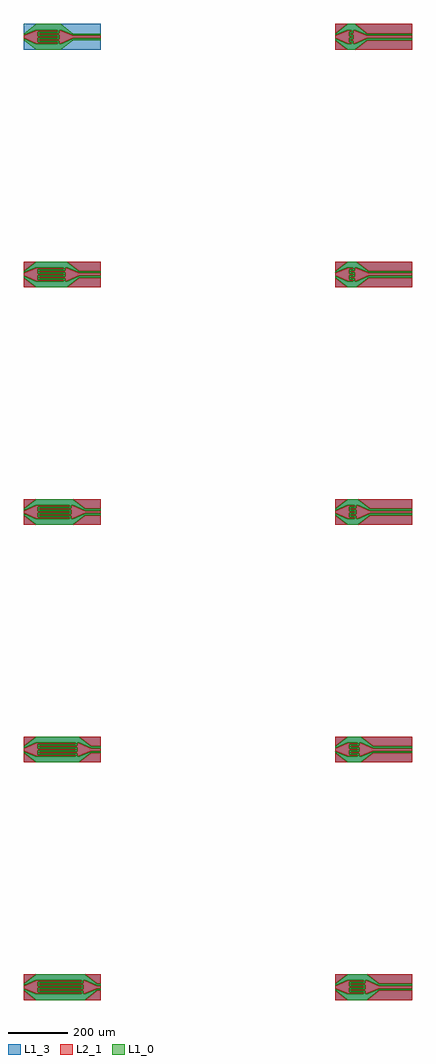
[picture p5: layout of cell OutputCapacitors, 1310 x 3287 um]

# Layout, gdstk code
import gdstk
lib = gdstk.Library(unit=1e-6, precision=1e-09)
def R(c, l, rs):  # rectangles x0, y0, x1, y1
    for r in rs: c.add(gdstk.rectangle(r[:2], r[2:], *l))
def P(c, l, *ps):  # polygons
    for p in ps: c.add(gdstk.Polygon(p, *l))
L1_0 = (1, 0)
L1_3 = (1, 3)
L2_1 = (2, 1)

cout1 = lib.new_cell('Cout1')
P(cout1, L1_0, [(-87.762,-43.5),(-130,-11),(-130,-5),(-87.717,-22.5),(-14.217,-22.5),(-14.217,-17.5),(-82.717,-17.5),(-82.717,-2.5),(-14.217,-2.5),(-14.217,2.5),(-82.717,2.5),(-82.717,17.5),(-14.217,17.5),(-14.217,22.5),(-87.717,22.5),(-130,5),(-130,11),(-87.762,43.5),(-4.172,43.5),(38.066,11),(130,11),(130,5),(38.066,5),(-4.217,22.5),(-9.217,22.5),(-9.217,12.5),(-77.717,12.5),(-77.717,7.5),(-9.217,7.5),(-9.217,-7.5),(-77.717,-7.5),(-77.717,-12.5),(-9.217,-12.5),(-9.217,-22.5),(-4.217,-22.5),(38.066,-5),(130,-5),(130,-11),(38.066,-11),(-4.172,-43.5)])
R(cout1, L1_3, [(-130,-43.5,130,43.5)])
P(cout1, L2_1, [(-87.717,-22.5),(-130,-5),(-130,5),(-87.717,22.5),(-14.217,22.5),(-14.217,17.5),(-82.717,17.5),(-82.717,2.5),(-14.217,2.5),(-14.217,-2.5),(-82.717,-2.5),(-82.717,-17.5),(-14.217,-17.5),(-14.217,-22.5)],
  [(-9.217,-22.5),(-9.217,-12.5),(-77.717,-12.5),(-77.717,-7.5),(-9.217,-7.5),(-9.217,7.5),(-77.717,7.5),(-77.717,12.5),(-9.217,12.5),(-9.217,22.5),(-4.217,22.5),(38.066,5),(130,5),(130,-5),(38.066,-5),(-4.217,-22.5)])

cout2 = lib.new_cell('Cout2')
P(cout2, L1_0, [(-87.762,-43.5),(-130,-11),(-130,-5),(-87.717,-22.5),(5.783,-22.5),(5.783,-17.5),(-82.717,-17.5),(-82.717,-2.5),(5.783,-2.5),(5.783,2.5),(-82.717,2.5),(-82.717,17.5),(5.783,17.5),(5.783,22.5),(-87.717,22.5),(-130,5),(-130,11),(-87.762,43.5),(15.828,43.5),(58.066,11),(130,11),(130,5),(58.066,5),(15.783,22.5),(10.783,22.5),(10.783,12.5),(-77.717,12.5),(-77.717,7.5),(10.783,7.5),(10.783,-7.5),(-77.717,-7.5),(-77.717,-12.5),(10.783,-12.5),(10.783,-22.5),(15.783,-22.5),(58.066,-5),(130,-5),(130,-11),(58.066,-11),(15.828,-43.5)])
R(cout2, L1_3, [(-130,-43.5,130,43.5)])
P(cout2, L2_1, [(-130,11),(-130,43.5),(-87.762,43.5)],
  [(-130,-43.5),(-130,-11),(-87.762,-43.5)],
  [(-87.717,-22.5),(-130,-5),(-130,5),(-87.717,22.5),(5.783,22.5),(5.783,17.5),(-82.717,17.5),(-82.717,2.5),(5.783,2.5),(5.783,-2.5),(-82.717,-2.5),(-82.717,-17.5),(5.783,-17.5),(5.783,-22.5)],
  [(10.783,-22.5),(10.783,-12.5),(-77.717,-12.5),(-77.717,-7.5),(10.783,-7.5),(10.783,7.5),(-77.717,7.5),(-77.717,12.5),(10.783,12.5),(10.783,22.5),(15.783,22.5),(58.066,5),(130,5),(130,-5),(58.066,-5),(15.783,-22.5)],
  [(15.828,-43.5),(58.066,-11),(130,-11),(130,-43.5)],
  [(58.066,11),(15.828,43.5),(130,43.5),(130,11)])

cout3 = lib.new_cell('Cout3')
P(cout3, L1_0, [(-87.762,-43.5),(-130,-11),(-130,-5),(-87.717,-22.5),(25.783,-22.5),(25.783,-17.5),(-82.717,-17.5),(-82.717,-2.5),(25.783,-2.5),(25.783,2.5),(-82.717,2.5),(-82.717,17.5),(25.783,17.5),(25.783,22.5),(-87.717,22.5),(-130,5),(-130,11),(-87.762,43.5),(35.828,43.5),(78.066,11),(130,11),(130,5),(78.066,5),(35.783,22.5),(30.783,22.5),(30.783,12.5),(-77.717,12.5),(-77.717,7.5),(30.783,7.5),(30.783,-7.5),(-77.717,-7.5),(-77.717,-12.5),(30.783,-12.5),(30.783,-22.5),(35.783,-22.5),(78.066,-5),(130,-5),(130,-11),(78.066,-11),(35.828,-43.5)])
R(cout3, L1_3, [(-130,-43.5,130,43.5)])
P(cout3, L2_1, [(-130,11),(-130,43.5),(-87.762,43.5)],
  [(-130,-43.5),(-130,-11),(-87.762,-43.5)],
  [(-87.717,-22.5),(-130,-5),(-130,5),(-87.717,22.5),(25.783,22.5),(25.783,17.5),(-82.717,17.5),(-82.717,2.5),(25.783,2.5),(25.783,-2.5),(-82.717,-2.5),(-82.717,-17.5),(25.783,-17.5),(25.783,-22.5)],
  [(30.783,-22.5),(30.783,-12.5),(-77.717,-12.5),(-77.717,-7.5),(30.783,-7.5),(30.783,7.5),(-77.717,7.5),(-77.717,12.5),(30.783,12.5),(30.783,22.5),(35.783,22.5),(78.066,5),(130,5),(130,-5),(78.066,-5),(35.783,-22.5)],
  [(35.828,-43.5),(78.066,-11),(130,-11),(130,-43.5)],
  [(78.066,11),(35.828,43.5),(130,43.5),(130,11)])

cout4 = lib.new_cell('Cout4')
P(cout4, L1_0, [(-87.762,-43.5),(-130,-11),(-130,-5),(-87.717,-22.5),(45.783,-22.5),(45.783,-17.5),(-82.717,-17.5),(-82.717,-2.5),(45.783,-2.5),(45.783,2.5),(-82.717,2.5),(-82.717,17.5),(45.783,17.5),(45.783,22.5),(-87.717,22.5),(-130,5),(-130,11),(-87.762,43.5),(55.828,43.5),(98.066,11),(130,11),(130,5),(98.066,5),(55.783,22.5),(50.783,22.5),(50.783,12.5),(-77.717,12.5),(-77.717,7.5),(50.783,7.5),(50.783,-7.5),(-77.717,-7.5),(-77.717,-12.5),(50.783,-12.5),(50.783,-22.5),(55.783,-22.5),(98.066,-5),(130,-5),(130,-11),(98.066,-11),(55.828,-43.5)])
R(cout4, L1_3, [(-130,-43.5,130,43.5)])
P(cout4, L2_1, [(-130,11),(-130,43.5),(-87.762,43.5)],
  [(-130,-43.5),(-130,-11),(-87.762,-43.5)],
  [(-87.717,-22.5),(-130,-5),(-130,5),(-87.717,22.5),(45.783,22.5),(45.783,17.5),(-82.717,17.5),(-82.717,2.5),(45.783,2.5),(45.783,-2.5),(-82.717,-2.5),(-82.717,-17.5),(45.783,-17.5),(45.783,-22.5)],
  [(50.783,-22.5),(50.783,-12.5),(-77.717,-12.5),(-77.717,-7.5),(50.783,-7.5),(50.783,7.5),(-77.717,7.5),(-77.717,12.5),(50.783,12.5),(50.783,22.5),(55.783,22.5),(98.066,5),(130,5),(130,-5),(98.066,-5),(55.783,-22.5)],
  [(55.828,-43.5),(98.066,-11),(130,-11),(130,-43.5)],
  [(98.066,11),(55.828,43.5),(130,43.5),(130,11)])

cout5 = lib.new_cell('Cout5')
P(cout5, L1_0, [(-87.762,-43.5),(-130,-11),(-130,-5),(-87.717,-22.5),(65.783,-22.5),(65.783,-17.5),(-82.717,-17.5),(-82.717,-2.5),(65.783,-2.5),(65.783,2.5),(-82.717,2.5),(-82.717,17.5),(65.783,17.5),(65.783,22.5),(-87.717,22.5),(-130,5),(-130,11),(-87.762,43.5),(75.828,43.5),(118.066,11),(130,11),(130,5),(118.066,5),(75.783,22.5),(70.783,22.5),(70.783,12.5),(-77.717,12.5),(-77.717,7.5),(70.783,7.5),(70.783,-7.5),(-77.717,-7.5),(-77.717,-12.5),(70.783,-12.5),(70.783,-22.5),(75.783,-22.5),(118.066,-5),(130,-5),(130,-11),(118.066,-11),(75.828,-43.5)])
R(cout5, L1_3, [(-130,-43.5,130,43.5)])
P(cout5, L2_1, [(-130,11),(-130,43.5),(-87.762,43.5)],
  [(-130,-43.5),(-130,-11),(-87.762,-43.5)],
  [(-87.717,-22.5),(-130,-5),(-130,5),(-87.717,22.5),(65.783,22.5),(65.783,17.5),(-82.717,17.5),(-82.717,2.5),(65.783,2.5),(65.783,-2.5),(-82.717,-2.5),(-82.717,-17.5),(65.783,-17.5),(65.783,-22.5)],
  [(70.783,-22.5),(70.783,-12.5),(-77.717,-12.5),(-77.717,-7.5),(70.783,-7.5),(70.783,7.5),(-77.717,7.5),(-77.717,12.5),(70.783,12.5),(70.783,22.5),(75.783,22.5),(118.066,5),(130,5),(130,-5),(118.066,-5),(75.783,-22.5)],
  [(75.828,-43.5),(118.066,-11),(130,-11),(130,-43.5)],
  [(118.066,11),(75.828,43.5),(130,43.5),(130,11)])

cout6 = lib.new_cell('Cout6')
P(cout6, L1_0, [(-87.762,-43.5),(-130,-11),(-130,-5),(-87.717,-22.5),(-74.217,-22.5),(-74.217,-17.5),(-82.717,-17.5),(-82.717,-2.5),(-74.217,-2.5),(-74.217,2.5),(-82.717,2.5),(-82.717,17.5),(-74.217,17.5),(-74.217,22.5),(-87.717,22.5),(-130,5),(-130,11),(-87.762,43.5),(-64.172,43.5),(-21.934,11),(130,11),(130,5),(-21.934,5),(-64.217,22.5),(-69.217,22.5),(-69.217,12.5),(-77.717,12.5),(-77.717,7.5),(-69.217,7.5),(-69.217,-7.5),(-77.717,-7.5),(-77.717,-12.5),(-69.217,-12.5),(-69.217,-22.5),(-64.217,-22.5),(-21.934,-5),(130,-5),(130,-11),(-21.934,-11),(-64.172,-43.5)])
R(cout6, L1_3, [(-130,-43.5,130,43.5)])
P(cout6, L2_1, [(-130,11),(-130,43.5),(-87.762,43.5)],
  [(-130,-43.5),(-130,-11),(-87.762,-43.5)],
  [(-87.717,-22.5),(-130,-5),(-130,5),(-87.717,22.5),(-74.217,22.5),(-74.217,17.5),(-82.717,17.5),(-82.717,2.5),(-74.217,2.5),(-74.217,-2.5),(-82.717,-2.5),(-82.717,-17.5),(-74.217,-17.5),(-74.217,-22.5)],
  [(-69.217,-22.5),(-69.217,-12.5),(-77.717,-12.5),(-77.717,-7.5),(-69.217,-7.5),(-69.217,7.5),(-77.717,7.5),(-77.717,12.5),(-69.217,12.5),(-69.217,22.5),(-64.217,22.5),(-21.934,5),(130,5),(130,-5),(-21.934,-5),(-64.217,-22.5)],
  [(-64.172,-43.5),(-21.934,-11),(130,-11),(130,-43.5)],
  [(-21.934,11),(-64.172,43.5),(130,43.5),(130,11)])

cout7 = lib.new_cell('Cout7')
P(cout7, L1_0, [(-87.762,-43.5),(-130,-11),(-130,-5),(-87.717,-22.5),(-69.217,-22.5),(-69.217,-17.5),(-82.717,-17.5),(-82.717,-2.5),(-69.217,-2.5),(-69.217,2.5),(-82.717,2.5),(-82.717,17.5),(-69.217,17.5),(-69.217,22.5),(-87.717,22.5),(-130,5),(-130,11),(-87.762,43.5),(-59.172,43.5),(-16.934,11),(130,11),(130,5),(-16.934,5),(-59.217,22.5),(-64.217,22.5),(-64.217,12.5),(-77.717,12.5),(-77.717,7.5),(-64.217,7.5),(-64.217,-7.5),(-77.717,-7.5),(-77.717,-12.5),(-64.217,-12.5),(-64.217,-22.5),(-59.217,-22.5),(-16.934,-5),(130,-5),(130,-11),(-16.934,-11),(-59.172,-43.5)])
R(cout7, L1_3, [(-130,-43.5,130,43.5)])
P(cout7, L2_1, [(-130,11),(-130,43.5),(-87.762,43.5)],
  [(-130,-43.5),(-130,-11),(-87.762,-43.5)],
  [(-87.717,-22.5),(-130,-5),(-130,5),(-87.717,22.5),(-69.217,22.5),(-69.217,17.5),(-82.717,17.5),(-82.717,2.5),(-69.217,2.5),(-69.217,-2.5),(-82.717,-2.5),(-82.717,-17.5),(-69.217,-17.5),(-69.217,-22.5)],
  [(-64.217,-22.5),(-64.217,-12.5),(-77.717,-12.5),(-77.717,-7.5),(-64.217,-7.5),(-64.217,7.5),(-77.717,7.5),(-77.717,12.5),(-64.217,12.5),(-64.217,22.5),(-59.217,22.5),(-16.934,5),(130,5),(130,-5),(-16.934,-5),(-59.217,-22.5)],
  [(-59.172,-43.5),(-16.934,-11),(130,-11),(130,-43.5)],
  [(-16.934,11),(-59.172,43.5),(130,43.5),(130,11)])

cout8 = lib.new_cell('Cout8')
P(cout8, L1_0, [(-87.762,-43.5),(-130,-11),(-130,-5),(-87.717,-22.5),(-64.217,-22.5),(-64.217,-17.5),(-82.717,-17.5),(-82.717,-2.5),(-64.217,-2.5),(-64.217,2.5),(-82.717,2.5),(-82.717,17.5),(-64.217,17.5),(-64.217,22.5),(-87.717,22.5),(-130,5),(-130,11),(-87.762,43.5),(-54.172,43.5),(-11.934,11),(130,11),(130,5),(-11.934,5),(-54.217,22.5),(-59.217,22.5),(-59.217,12.5),(-77.717,12.5),(-77.717,7.5),(-59.217,7.5),(-59.217,-7.5),(-77.717,-7.5),(-77.717,-12.5),(-59.217,-12.5),(-59.217,-22.5),(-54.217,-22.5),(-11.934,-5),(130,-5),(130,-11),(-11.934,-11),(-54.172,-43.5)])
R(cout8, L1_3, [(-130,-43.5,130,43.5)])
P(cout8, L2_1, [(-130,11),(-130,43.5),(-87.762,43.5)],
  [(-130,-43.5),(-130,-11),(-87.762,-43.5)],
  [(-87.717,-22.5),(-130,-5),(-130,5),(-87.717,22.5),(-64.217,22.5),(-64.217,17.5),(-82.717,17.5),(-82.717,2.5),(-64.217,2.5),(-64.217,-2.5),(-82.717,-2.5),(-82.717,-17.5),(-64.217,-17.5),(-64.217,-22.5)],
  [(-59.217,-22.5),(-59.217,-12.5),(-77.717,-12.5),(-77.717,-7.5),(-59.217,-7.5),(-59.217,7.5),(-77.717,7.5),(-77.717,12.5),(-59.217,12.5),(-59.217,22.5),(-54.217,22.5),(-11.934,5),(130,5),(130,-5),(-11.934,-5),(-54.217,-22.5)],
  [(-54.172,-43.5),(-11.934,-11),(130,-11),(130,-43.5)],
  [(-11.934,11),(-54.172,43.5),(130,43.5),(130,11)])

cout9 = lib.new_cell('Cout9')
P(cout9, L1_0, [(-87.762,-43.5),(-130,-11),(-130,-5),(-87.717,-22.5),(-54.217,-22.5),(-54.217,-17.5),(-82.717,-17.5),(-82.717,-2.5),(-54.217,-2.5),(-54.217,2.5),(-82.717,2.5),(-82.717,17.5),(-54.217,17.5),(-54.217,22.5),(-87.717,22.5),(-130,5),(-130,11),(-87.762,43.5),(-44.172,43.5),(-1.934,11),(130,11),(130,5),(-1.934,5),(-44.217,22.5),(-49.217,22.5),(-49.217,12.5),(-77.717,12.5),(-77.717,7.5),(-49.217,7.5),(-49.217,-7.5),(-77.717,-7.5),(-77.717,-12.5),(-49.217,-12.5),(-49.217,-22.5),(-44.217,-22.5),(-1.934,-5),(130,-5),(130,-11),(-1.934,-11),(-44.172,-43.5)])
R(cout9, L1_3, [(-130,-43.5,130,43.5)])
P(cout9, L2_1, [(-130,11),(-130,43.5),(-87.762,43.5)],
  [(-130,-43.5),(-130,-11),(-87.762,-43.5)],
  [(-87.717,-22.5),(-130,-5),(-130,5),(-87.717,22.5),(-54.217,22.5),(-54.217,17.5),(-82.717,17.5),(-82.717,2.5),(-54.217,2.5),(-54.217,-2.5),(-82.717,-2.5),(-82.717,-17.5),(-54.217,-17.5),(-54.217,-22.5)],
  [(-49.217,-22.5),(-49.217,-12.5),(-77.717,-12.5),(-77.717,-7.5),(-49.217,-7.5),(-49.217,7.5),(-77.717,7.5),(-77.717,12.5),(-49.217,12.5),(-49.217,22.5),(-44.217,22.5),(-1.934,5),(130,5),(130,-5),(-1.934,-5),(-44.217,-22.5)],
  [(-44.172,-43.5),(-1.934,-11),(130,-11),(130,-43.5)],
  [(-1.934,11),(-44.172,43.5),(130,43.5),(130,11)])

cout10 = lib.new_cell('Cout10')
P(cout10, L1_0, [(-87.762,-43.5),(-130,-11),(-130,-5),(-87.717,-22.5),(-34.217,-22.5),(-34.217,-17.5),(-82.717,-17.5),(-82.717,-2.5),(-34.217,-2.5),(-34.217,2.5),(-82.717,2.5),(-82.717,17.5),(-34.217,17.5),(-34.217,22.5),(-87.717,22.5),(-130,5),(-130,11),(-87.762,43.5),(-24.172,43.5),(18.066,11),(130,11),(130,5),(18.066,5),(-24.217,22.5),(-29.217,22.5),(-29.217,12.5),(-77.717,12.5),(-77.717,7.5),(-29.217,7.5),(-29.217,-7.5),(-77.717,-7.5),(-77.717,-12.5),(-29.217,-12.5),(-29.217,-22.5),(-24.217,-22.5),(18.066,-5),(130,-5),(130,-11),(18.066,-11),(-24.172,-43.5)])
R(cout10, L1_3, [(-130,-43.5,130,43.5)])
P(cout10, L2_1, [(-130,11),(-130,43.5),(-87.762,43.5)],
  [(-130,-43.5),(-130,-11),(-87.762,-43.5)],
  [(-87.717,-22.5),(-130,-5),(-130,5),(-87.717,22.5),(-34.217,22.5),(-34.217,17.5),(-82.717,17.5),(-82.717,2.5),(-34.217,2.5),(-34.217,-2.5),(-82.717,-2.5),(-82.717,-17.5),(-34.217,-17.5),(-34.217,-22.5)],
  [(-29.217,-22.5),(-29.217,-12.5),(-77.717,-12.5),(-77.717,-7.5),(-29.217,-7.5),(-29.217,7.5),(-77.717,7.5),(-77.717,12.5),(-29.217,12.5),(-29.217,22.5),(-24.217,22.5),(18.066,5),(130,5),(130,-5),(18.066,-5),(-24.217,-22.5)],
  [(-24.172,-43.5),(18.066,-11),(130,-11),(130,-43.5)],
  [(18.066,11),(-24.172,43.5),(130,43.5),(130,11)])

outputcapacitors = lib.new_cell('OutputCapacitors')
outputcapacitors.add(gdstk.Reference(cout1, (-525,1600)))
outputcapacitors.add(gdstk.Reference(cout2, (-525,800)))
outputcapacitors.add(gdstk.Reference(cout3, (-525,0)))
outputcapacitors.add(gdstk.Reference(cout4, (-525,-800)))
outputcapacitors.add(gdstk.Reference(cout5, (-525,-1600)))
outputcapacitors.add(gdstk.Reference(cout6, (525,1600)))
outputcapacitors.add(gdstk.Reference(cout7, (525,800)))
outputcapacitors.add(gdstk.Reference(cout8, (525,0)))
outputcapacitors.add(gdstk.Reference(cout9, (525,-800)))
outputcapacitors.add(gdstk.Reference(cout10, (525,-1600)))

lib.write_gds('OutputCapacitors.gds')
